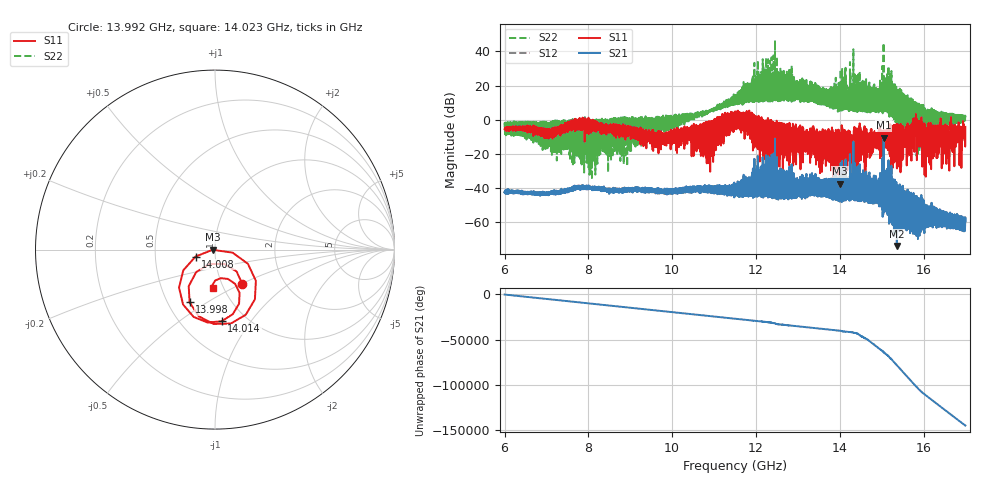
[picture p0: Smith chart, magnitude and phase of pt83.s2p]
#  HZ  S  RI  R  50.00
! Rohde & Schwarz Vector Network Analyzer
! Rohde-Schwarz,ZNA67-2Port,1332450062101215,3.01
! Created: UTC 10/19/2026, 10:05:37 AM
! freq[Hz]  re:S11  im:S11  re:S21  im:S21  re:S12  im:S12  re:S22  im:S22
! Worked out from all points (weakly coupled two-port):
!   11001 points, 6 GHz to 17 GHz, reference 50 ohm
!   highest |S21| = -10.43 dB at 15.047 GHz (marker M1); lowest = -73.8 dB at 15.365 GHz (marker M2)
!   lowest |S11| = -37.3 dB at 14.007 GHz (marker M3), VSWR 1.03, Z = 48.7 - j0.102 ohm
!   |S11| at or under -10 dB: 13.60914 GHz to 13.64592 GHz (36.78 MHz wide, 0.27 % of centre); 13.68763 GHz to 13.71619 GHz (28.56 MHz wide, 0.208 % of centre); 13.92213 GHz to 13.95057 GHz (28.44 MHz wide, 0.204 % of centre) (the widest 3 of 542)
!   |S22| runs from -35.2 to 46.3 dB; largest |S21 - S12| = 0.0062
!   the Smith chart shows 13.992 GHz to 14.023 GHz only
!   S11 on the Smith chart (normalised r, x): 13.992 GHz: 1.24, -0.51; 13.998 GHz: 0.64, -0.42; 14.008 GHz: 0.80, -0.06; 14.014 GHz: 0.77, -0.73; 14.023 GHz: 0.89, -0.40
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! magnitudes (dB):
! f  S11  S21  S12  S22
! 6 GHz  -5.6  -42.5  -42.5  -4.5
! 7.044 GHz  -6.0  -43.9  -43.9  -3.8
! 7.834 GHz  -3.4  -39.2  -39.1  -0.5
! 9.667 GHz  -6.8  -41.5  -41.7  1.2
! 10.937 GHz  -1.0  -42.1  -42.1  5.4
! 11.5 GHz  4.7  -41.1  -41.2  10.7
! 12.463 GHz  -6.0  -45.0  -45.0  11.9
! 13.334 GHz  -12.8  -41.8  -41.8  13.5
! 13.992 GHz  -12.2  -45.2  -45.3  7.2
! 13.998 GHz  -9.7  -40.4  -40.5  12.4
! 14.007 GHz  -37.3  -42.8  -42.8  9.6
! 14.008 GHz  -18.8  -45.9  -45.9  7.3
! 14.014 GHz  -7.9  -47.5  -47.4  6.0
! 14.023 GHz  -13.4  -43.2  -43.2  11.5
! 15.047 GHz  -6.3  -10.4  -10.5  44.9
! 15.167 GHz  -15.2  -50.8  -50.9  6.6
! 15.365 GHz  -28.5  -73.8  -73.9  -0.3
! 15.678 GHz  -5.0  -43.4  -43.5  11.7
! 15.785 GHz  -7.5  -54.6  -54.5  1.8
! 16.052 GHz  -9.1  -51.2  -51.1  5.5
! 16.861 GHz  -21.7  -63.8  -63.6  -0.9
! 17 GHz  -4.2  -59.5  -59.5  1.7
